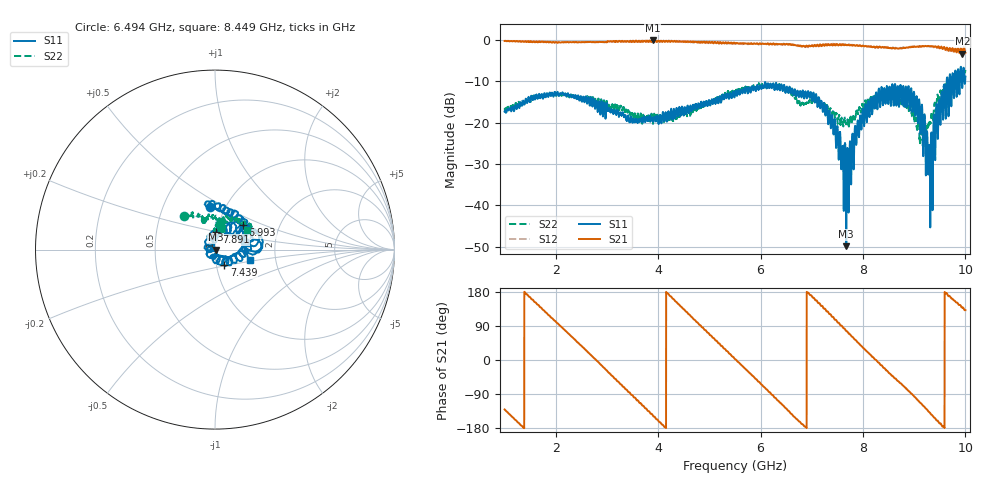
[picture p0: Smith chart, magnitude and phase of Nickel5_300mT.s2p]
#  HZ  S  RI  R  50.0
! Rohde & Schwarz ZVL13 2Ports - Version 3.31 - 1303.6509k13 SN: 101088
! Date: 2023-03-09 14:16:19
! Data & Calibration Information:
! Trc4:S11(TOSM) Trc2:S21(TOSM) Trc3:S12(TOSM) Trc5:S22(TOSM)
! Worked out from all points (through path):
!   4000 points, 1 GHz to 10 GHz, reference 50 ohm
!   highest |S21| = -0.13 dB at 3.89 GHz (marker M1); lowest = -3.3 dB at 9.941 GHz (marker M2)
!   group delay of S21, straight-line fit = 365 ps
!   lowest |S11| = -49.9 dB at 7.673 GHz (marker M3), VSWR 1.01, Z = 50.3 - j0.049 ohm
!   |S11| at or under -10 dB: start of sweep to 9.636 GHz; 9.652978 GHz to 9.686927 GHz (33.95 MHz wide, 0.351 % of centre); 9.709589 GHz to 9.739639 GHz (30.05 MHz wide, 0.309 % of centre)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
!   |S22| runs from -26.1 to -7.3 dB; largest |S21 - S12| = 0.076
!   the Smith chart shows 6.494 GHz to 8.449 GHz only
!   S11 on the Smith chart (normalised r, x): 6.494 GHz: 0.85, +0.42; 6.993 GHz: 1.31, +0.37; 7.439 GHz: 1.09, -0.19; 7.891 GHz: 0.99, +0.20; 8.449 GHz: 1.48, -0.18
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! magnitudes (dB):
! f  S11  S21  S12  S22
! 1 GHz  -17.3  -0.2  -0.2  -16.8
! 1.695 GHz  -14.1  -0.5  -0.4  -13.7
! 2.501 GHz  -14.5  -0.5  -0.6  -13.6
! 3.89 GHz  -19.1  -0.1  -0.2  -19.1
! 4 GHz  -19.4  -0.2  -0.2  -19.4
! 5.501 GHz  -13.2  -0.8  -0.9  -12.5
! 6.494 GHz  -12.5  -1.1  -1.0  -11.9
! 6.993 GHz  -13.7  -1.4  -1.5  -15.2
! 7 GHz  -14.4  -1.3  -1.4  -15.1
! 7.439 GHz  -20.0  -1.0  -1.3  -17.8
! 7.673 GHz  -49.9  -1.2  -1.0  -20.3
! 7.891 GHz  -20.0  -1.3  -1.3  -17.5
! 8.128 GHz  -18.5  -1.6  -1.7  -15.4
! 8.449 GHz  -13.7  -1.8  -1.9  -13.5
! 8.501 GHz  -14.4  -1.9  -2.0  -13.4
! 8.969 GHz  -17.5  -1.7  -1.6  -17.7
! 9.194 GHz  -19.0  -1.6  -1.5  -20.5
! 9.318 GHz  -32.5  -1.5  -1.6  -20.2
! 9.413 GHz  -27.2  -1.5  -1.7  -16.0
! 9.561 GHz  -19.0  -2.2  -2.0  -11.9
! 9.941 GHz  -11.1  -3.3  -2.6  -7.9
! 10 GHz  -8.9  -3.1  -2.6  -7.3
